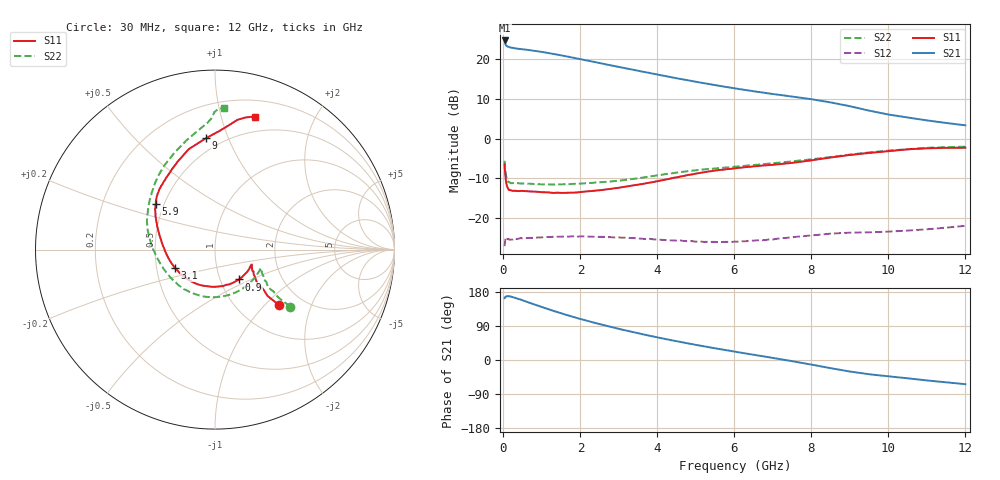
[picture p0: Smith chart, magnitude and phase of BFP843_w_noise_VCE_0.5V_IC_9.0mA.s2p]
! Infineon Technologies  Discrete & RF Semiconductors
! BFP843
! VCE =  0.5 V,  IC =  9.0 mA
! Common Emitter S-Parameters:  Aug 2013
# GHz  S  MA  R  50
!  f  S11  S21  S12  S22
! GHz  MAG  ANG  MAG  ANG  MAG  ANG  MAG  ANG
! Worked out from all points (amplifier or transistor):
!   103 points, 30 MHz to 12 GHz, reference 50 ohm
!   highest |S21| = 24.8 dB at 30 MHz (marker M1)
!   |S21| within 3 dB of that: start of sweep to 1.06 GHz
!   unconditionally stable (mu >= 1): 153.1 MHz to 811.8 MHz; 1.881 GHz to 1.961 GHz; 2.023 GHz to 11.91 GHz
!   at 400 MHz: K = 1.01, MAG = 23.3 dB, |S12| = -25.2 dB
!   at 3.7 GHz: K = 1.23, MAG = 18.2 dB, |S12| = -25.3 dB
!   at 12 GHz: K = 0.99, MSG = 12.7 dB, |S12| = -22.0 dB
!   lowest NFmin = 0.91 dB at 450 MHz
!   S11 on the Smith chart (normalised r, x): 30 MHz: 1.53, -1.21; 900 MHz: 1.23, -0.43; 3.1 GHz: 0.63, -0.14; 5.9 GHz: 0.45, +0.28; 9 GHz: 0.41, +0.83; 12 GHz: 0.36, +1.28
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0.03  0.4718 -40.9  17.39 163.2  0.0439 28.1  0.5255 -37.2
0.04  0.3901 -41.4  16.32 164.2  0.0488 23.8  0.443 -37.1
0.05  0.3468 -39.3  15.69 166.5  0.0539 22.0  0.4007 -35.6
0.07  0.2804 -36.1  14.98 167.7  0.0537 15.9  0.3373 -32.1
0.13  0.2303 -26.7  14.49 168.6  0.054 7.9  0.2832 -24.4
0.5  0.2187 -31.2  13.46 157.5  0.0551 3.2  0.2722 -33.1
0.9  0.213 -51.2  12.66 143.2  0.0565 0.8  0.2659 -54.8
1.2  0.2092 -67.5  11.98 132.9  0.0572 -0.7  0.2644 -71.6
1.5  0.2064 -83.3  11.28 123.3  0.0578 -2.0  0.2649 -87.2
2.1  0.2144 -113.2  9.859 105.5  0.0583 -5.7  0.2727 -115.9
2.5  0.2232 -131.2  9.009 94.7  0.0575 -7.7  0.2811 -132.4
3.1  0.245 -154.8  7.877 79.8  0.0561 -10.0  0.2986 -154.3
3.6  0.2674 -172.2  7.042 68.3  0.0545 -12.0  0.3217 -169.9
4.1  0.297 173.3  6.31 57.6  0.0528 -12.3  0.35 177.2
4.8  0.3485 157.8  5.452 43.7  0.0509 -12.0  0.3897 164.2
5.9  0.4157 142.5  4.411 24.0  0.0494 -8.5  0.4375 148.4
6.1  0.4272 140.3  4.253 20.5  0.05 -7.6  0.4462 145.6
7.3  0.4846 124.0  3.508 0.3  0.0556 -5.3  0.5059 130.3
8.5  0.5784 104.7  2.87 -21.6  0.0632 -8.0  0.5857 112.6
9  0.6229 94.6  2.569 -30.4  0.065 -10.7  0.6287 104.7
10.5  0.7336 80.2  1.851 -48.3  0.0691 -14.3  0.735 91.3
12  0.769 73.3  1.475 -63.8  0.0793 -19.0  0.7919 86.5
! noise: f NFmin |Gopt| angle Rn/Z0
0.45  0.91  0.08  6  0.01
0.9  0.92  0.08  17  0.04
1.5  0.94  0.08  27  0.09
1.9  0.97  0.07  36  0.17
2.4  1  0.06  47  0.24
3.5  1.06  0.03  59  0.28
5.5  1.2  0.15  -131  0.32
10  1.84  0.5  -68  0.42
